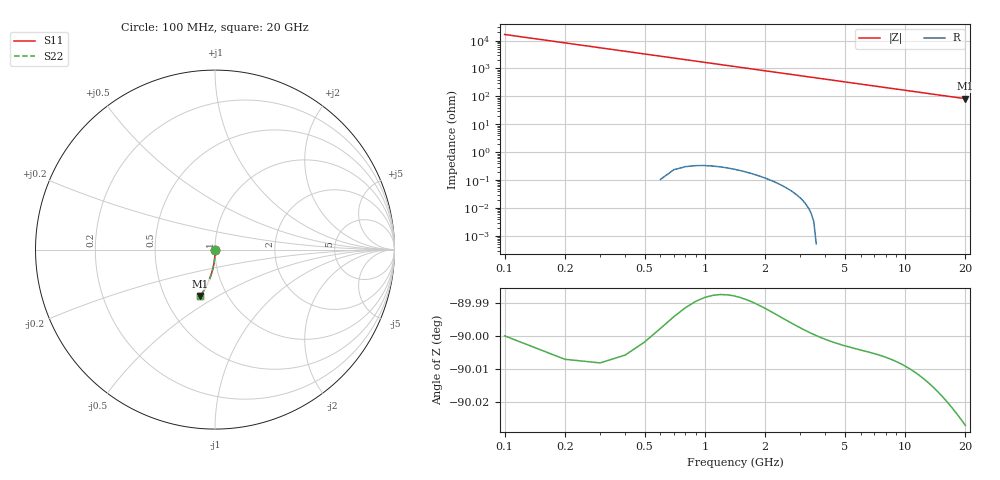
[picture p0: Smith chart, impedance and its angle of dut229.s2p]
! Touchstone file exported from HFSS 2026.1.0
!  File:  C:/ffzhzh/LocalFiles/Ansys_Project_Files/temp_train_TSV_229_1782992344_41620.aedt
!  Generated:  07:40:15 PM Jul  2, 2026
!  Design:  TSV
!  Project:  temp_train_TSV_229_1782992344_41620
! Variables:
!  h_bsmrdl = 2um
!  h_ox = 20um
!  h_rdl = 5um
!  h_sub = 95.59um
!  h_tmrdl = 5um
!  h_tsv = 95.59um
!  h_via = 3um
!  l_bsmrdl = 300um
!  l_sub = 429.26um
!  l_tmrdl = 200um
!  m_sub = 200um
!  pitch = 30.62um
!  r_tsv = 14.63um
!  s_tmrdl = 10um
!  w_bsmrdl = 18um
!  w_sub = 500um
!  w_tmrdl = 12um
!  x_tsv_center1 = 206um
!  x_tsv_center2 = 524um
!  x_tsv_center3 = 736um
!  x_tsv_center4 = 1054um
!  x_tsv_center5 = 1266um
!  x_tsv_center6 = 1584um
# GHz S MA R 50.000000
! Terminal data exported
! Port[1] = TSV1_1_T1
! Port[2] = TSV1_1_T2
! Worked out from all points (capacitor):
!   200 points, 100 MHz to 20 GHz, reference 50 ohm
!   read as one part in shunt: C = 96.5 fF near 200 MHz
!   lowest |Z| = 82.8 ohm at 20 GHz (marker M1)
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0.1  0.00133 -85.3  0.9999 -0.1  0.9999 -0.1  0.00133 -85.3
! Gamma 0 0 0 0
! Port Impedance 50 0 50 0
0.2  0.002664 -87.1  0.9999 -0.2  0.9999 -0.2  0.002664 -87.1
0.3  0.004015 -87.6  0.9998 -0.3  0.9998 -0.3  0.004015 -87.6
0.4  0.005384 -87.8  0.9997 -0.4  0.9997 -0.4  0.005384 -87.8
0.5  0.006767 -88.0  0.9997 -0.5  0.9997 -0.5  0.006767 -88.0
0.7  0.00956 -88.4  0.9996 -0.7  0.9996 -0.7  0.00956 -88.4
0.8  0.01096 -88.6  0.9995 -0.8  0.9995 -0.8  0.01096 -88.6
1  0.01378 -89.0  0.9994 -0.9  0.9994 -0.9  0.01378 -89.0
1.2  0.01659 -89.4  0.9993 -1.1  0.9993 -1.1  0.01659 -89.4
1.4  0.01941 -89.7  0.9992 -1.3  0.9992 -1.3  0.01941 -89.7
1.7  0.02363 -90.1  0.9991 -1.6  0.9991 -1.6  0.02363 -90.1
2  0.02785 -90.6  0.999 -1.9  0.999 -1.9  0.02785 -90.6
2.7  0.03769 -91.4  0.9985 -2.5  0.9985 -2.5  0.03769 -91.4
3.5  0.04893 -92.3  0.9979 -3.3  0.9979 -3.3  0.04893 -92.3
4.2  0.05876 -93.0  0.9973 -3.9  0.9973 -3.9  0.05876 -93.0
5  0.06998 -93.8  0.9965 -4.7  0.9965 -4.7  0.06998 -93.8
6.8  0.09516 -95.6  0.9942 -6.3  0.9942 -6.3  0.09516 -95.6
8.3  0.116 -97.0  0.9918 -7.7  0.9918 -7.7  0.116 -97.0
10.1  0.1408 -98.7  0.9884 -9.3  0.9884 -9.3  0.1408 -98.7
13.4  0.1855 -101.7  0.9807 -12.3  0.9807 -12.3  0.1855 -101.7
16.7  0.229 -104.7  0.9712 -15.2  0.9712 -15.2  0.229 -104.7
20  0.271 -107.6  0.9601 -18.1  0.9601 -18.1  0.271 -107.6
